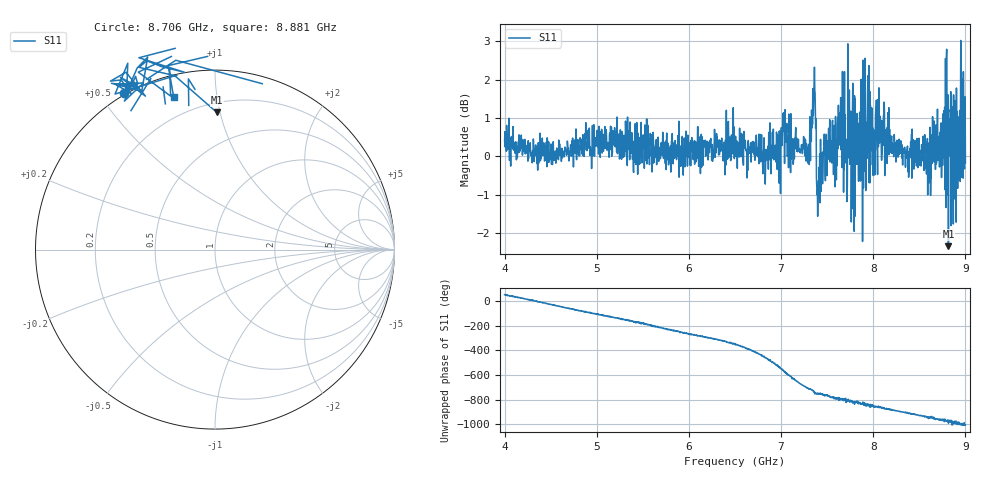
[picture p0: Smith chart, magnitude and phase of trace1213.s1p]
! Created with skrf 1.8.0 (http://scikit-rf.org).
# Hz S RI R 50.0
!freq ReS11 ImS11
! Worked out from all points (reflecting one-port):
!   1601 points, 4 GHz to 9 GHz, reference 50 ohm
!   lowest |S11| = -2.3 dB at 8.816 GHz (marker M1), VSWR 7.49, Z = 13.3 + j48.9 ohm
!   phase of S11 starts at 50 deg and turns -1053 deg over the sweep
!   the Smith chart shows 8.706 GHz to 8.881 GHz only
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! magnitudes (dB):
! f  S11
! 4 GHz  0.4
! 4.625 GHz  0.0
! 5.25 GHz  0.1
! 5.875 GHz  0.3
! 6.5 GHz  0.2
! 6.816 GHz  0.5
! 6.972 GHz  -0.2
! 7.038 GHz  -0.2
! 7.125 GHz  0.4
! 7.294 GHz  -0.2
! 7.356 GHz  1.7
! 7.409 GHz  -0.9
! 7.453 GHz  -0.4
! 7.588 GHz  0.4
! 7.647 GHz  1.5
! 7.697 GHz  0.0
! 7.75 GHz  0.6
! 7.775 GHz  1.2
! 7.828 GHz  0.8
! 7.997 GHz  0.5
! 8.047 GHz  -0.5
! 8.375 GHz  0.0
! 8.616 GHz  0.8
! 8.656 GHz  0.6
! 8.816 GHz  -2.3
! 8.875 GHz  0.6
! 8.972 GHz  0.8
! 9 GHz  -0.2
